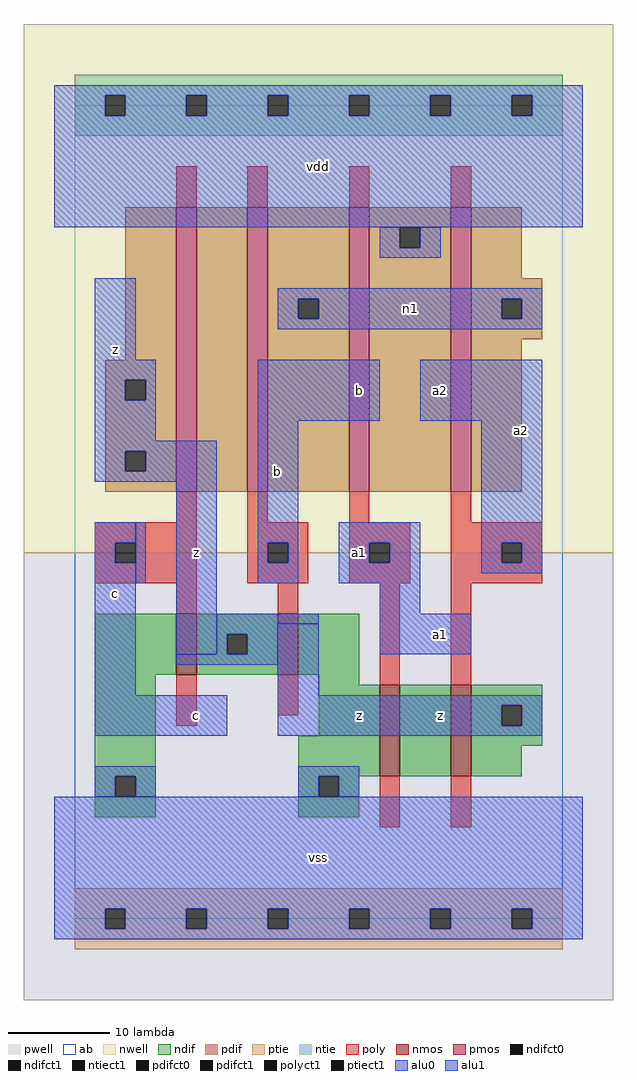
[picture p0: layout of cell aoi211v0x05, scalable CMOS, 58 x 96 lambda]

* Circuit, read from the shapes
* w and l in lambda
.subckt aoi211v0x05 a1 a2 b c n1 vdd vss z
M1 z c vss vss nfet w=6 l=2
M2 vss b z vss nfet w=6 l=2
M3 n2 a1 vss vss nfet w=9 l=2
M4 z a2 n2 vss nfet w=9 l=2
M5 n3 c z vdd pfet w=28 l=2
M6 n1 b n3 vdd pfet w=28 l=2
M7 vdd a1 n1 vdd pfet w=28 l=2
M8 n1 a2 vdd vdd pfet w=28 l=2
.ends

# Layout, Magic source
magic
tech scmos
<< ab >>
rect 0 0 48 80
<< nwell >>
rect -5 36 53 88
<< pwell >>
rect -5 -8 53 36
<< poly >>
rect 10 70 12 74
rect 17 70 19 74
rect 27 70 29 74
rect 37 70 39 74
rect 10 39 12 42
rect 2 37 12 39
rect 2 35 4 37
rect 6 35 12 37
rect 2 33 12 35
rect 17 39 19 42
rect 27 39 29 42
rect 37 39 39 42
rect 17 37 23 39
rect 17 35 19 37
rect 21 35 23 37
rect 17 33 23 35
rect 27 37 33 39
rect 27 35 29 37
rect 31 35 33 37
rect 27 33 33 35
rect 37 37 46 39
rect 37 35 42 37
rect 44 35 46 37
rect 37 33 46 35
rect 10 30 12 33
rect 20 30 22 33
rect 10 19 12 24
rect 20 20 22 24
rect 30 23 32 33
rect 37 23 39 33
rect 30 9 32 14
rect 37 9 39 14
<< ndif >>
rect 2 24 10 30
rect 12 28 20 30
rect 12 26 15 28
rect 17 26 20 28
rect 12 24 20 26
rect 22 24 28 30
rect 2 14 8 24
rect 24 23 28 24
rect 24 18 30 23
rect 2 12 4 14
rect 6 12 8 14
rect 2 10 8 12
rect 22 14 30 18
rect 32 14 37 23
rect 39 21 46 23
rect 39 19 42 21
rect 44 19 46 21
rect 39 17 46 19
rect 39 14 44 17
rect 22 12 24 14
rect 26 12 28 14
rect 22 10 28 12
<< pdif >>
rect 5 55 10 70
rect 3 53 10 55
rect 3 51 5 53
rect 7 51 10 53
rect 3 46 10 51
rect 3 44 5 46
rect 7 44 10 46
rect 3 42 10 44
rect 12 42 17 70
rect 19 61 27 70
rect 19 59 22 61
rect 24 59 27 61
rect 19 42 27 59
rect 29 68 37 70
rect 29 66 32 68
rect 34 66 37 68
rect 29 42 37 66
rect 39 63 44 70
rect 39 61 46 63
rect 39 59 42 61
rect 44 59 46 61
rect 39 57 46 59
rect 39 42 44 57
<< alu1 >>
rect -2 81 50 82
rect -2 79 3 81
rect 5 79 11 81
rect 13 79 19 81
rect 21 79 27 81
rect 29 79 35 81
rect 37 79 43 81
rect 45 79 50 81
rect -2 68 50 79
rect 2 55 6 63
rect 2 53 8 55
rect 2 51 5 53
rect 7 51 8 53
rect 2 47 8 51
rect 18 49 30 55
rect 34 49 46 55
rect 2 46 14 47
rect 2 44 5 46
rect 7 44 14 46
rect 2 43 14 44
rect 2 37 6 39
rect 2 35 4 37
rect 2 22 6 35
rect 10 26 14 43
rect 18 37 22 49
rect 18 35 19 37
rect 21 35 22 37
rect 18 33 22 35
rect 26 37 34 39
rect 26 35 29 37
rect 31 35 34 37
rect 26 33 34 35
rect 40 37 46 49
rect 40 35 42 37
rect 44 35 46 37
rect 40 34 46 35
rect 30 30 34 33
rect 20 22 24 29
rect 30 26 39 30
rect 2 18 15 22
rect 20 21 46 22
rect 20 19 42 21
rect 44 19 46 21
rect 20 18 46 19
rect -2 1 50 12
rect -2 -1 3 1
rect 5 -1 11 1
rect 13 -1 19 1
rect 21 -1 27 1
rect 29 -1 35 1
rect 37 -1 43 1
rect 45 -1 50 1
rect -2 -2 50 -1
<< ptie >>
rect 0 1 48 3
rect 0 -1 3 1
rect 5 -1 11 1
rect 13 -1 19 1
rect 21 -1 27 1
rect 29 -1 35 1
rect 37 -1 43 1
rect 45 -1 48 1
rect 0 -3 48 -1
<< ntie >>
rect 0 81 48 83
rect 0 79 3 81
rect 5 79 11 81
rect 13 79 19 81
rect 21 79 27 81
rect 29 79 35 81
rect 37 79 43 81
rect 45 79 48 81
rect 0 77 48 79
<< nmos >>
rect 10 24 12 30
rect 20 24 22 30
rect 30 14 32 23
rect 37 14 39 23
<< pmos >>
rect 10 42 12 70
rect 17 42 19 70
rect 27 42 29 70
rect 37 42 39 70
<< polyct1 >>
rect 4 35 6 37
rect 19 35 21 37
rect 29 35 31 37
rect 42 35 44 37
<< ndifct0 >>
rect 15 26 17 28
rect 4 12 6 14
rect 24 12 26 14
<< ndifct1 >>
rect 42 19 44 21
<< ntiect1 >>
rect 3 79 5 81
rect 11 79 13 81
rect 19 79 21 81
rect 27 79 29 81
rect 35 79 37 81
rect 43 79 45 81
<< ptiect1 >>
rect 3 -1 5 1
rect 11 -1 13 1
rect 19 -1 21 1
rect 27 -1 29 1
rect 35 -1 37 1
rect 43 -1 45 1
<< pdifct0 >>
rect 22 59 24 61
rect 32 66 34 68
rect 42 59 44 61
<< pdifct1 >>
rect 5 51 7 53
rect 5 44 7 46
<< alu0 >>
rect 30 66 32 68
rect 34 66 36 68
rect 30 65 36 66
rect 20 61 46 62
rect 20 59 22 61
rect 24 59 42 61
rect 44 59 46 61
rect 20 58 46 59
rect 6 33 7 39
rect 14 29 24 30
rect 14 28 20 29
rect 14 26 15 28
rect 17 26 20 28
rect 10 25 20 26
rect 2 14 8 15
rect 2 12 4 14
rect 6 12 8 14
rect 22 14 28 15
rect 22 12 24 14
rect 26 12 28 14
<< labels >>
rlabel alu0 33 60 33 60 6 n1
rlabel alu1 4 32 4 32 6 c
rlabel alu1 4 56 4 56 6 z
rlabel alu1 12 20 12 20 6 c
rlabel alu1 12 36 12 36 6 z
rlabel alu1 20 44 20 44 6 b
rlabel alu1 24 6 24 6 6 vss
rlabel alu1 28 20 28 20 6 z
rlabel alu1 28 36 28 36 6 a1
rlabel alu1 28 52 28 52 6 b
rlabel alu1 24 74 24 74 6 vdd
rlabel alu1 36 20 36 20 6 z
rlabel alu1 36 28 36 28 6 a1
rlabel alu1 36 52 36 52 6 a2
rlabel alu1 44 48 44 48 6 a2
<< end >>
